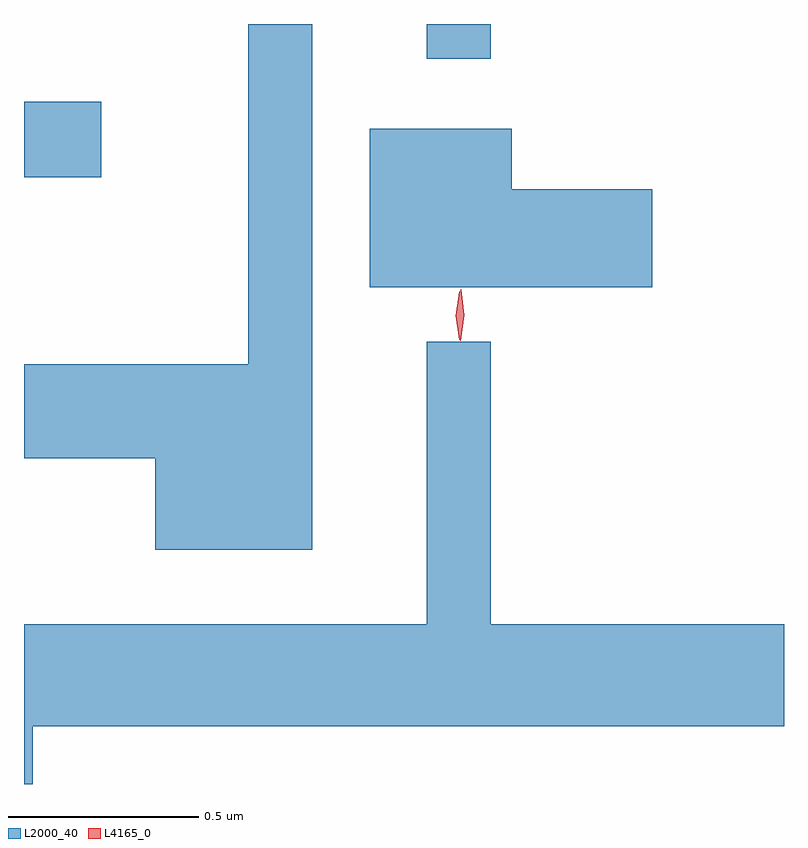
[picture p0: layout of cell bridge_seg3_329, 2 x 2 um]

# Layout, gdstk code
import gdstk
lib = gdstk.Library(unit=1e-6, precision=1e-09)
def R(c, l, rs):  # rectangles x0, y0, x1, y1
    for r in rs: c.add(gdstk.rectangle(r[:2], r[2:], *l))
def P(c, l, *ps):  # polygons
    for p in ps: c.add(gdstk.Polygon(p, *l))
L2000_40 = (2000, 40)
L4165_0 = (4165, 0)

bridge_seg3_329 = lib.new_cell('bridge_seg3_329')
R(bridge_seg3_329, L2000_40, [(535.001,1165.201,535.204,1165.399), (536.061,1165.513,536.229,1165.604)])
P(bridge_seg3_329, L2000_40, [(535.759,1165.604),(535.591,1165.604),(535.591,1164.709),(535.001,1164.709),(535.001,1164.461),(535.346,1164.461),(535.346,1164.221),(535.759,1164.221)],
  [(536.654,1165.169),(536.284,1165.169),(536.284,1165.329),(535.911,1165.329),(535.911,1164.911),(536.654,1164.911)],
  [(535.024,1163.756),(537.001,1163.756),(537.001,1164.024),(536.229,1164.024),(536.229,1164.768),(536.061,1164.768),(536.061,1164.024),(535.001,1164.024),(535.001,1163.604),(535.024,1163.604)])
P(bridge_seg3_329, L4165_0, [(536.149,1164.77),(536.149,1164.77),(536.14,1164.838),(536.15,1164.906),(536.151,1164.906),(536.152,1164.906),(536.16,1164.838),(536.15,1164.77)],
  [(536.147,1164.773),(536.147,1164.773),(536.137,1164.836),(536.147,1164.899),(536.147,1164.9),(536.148,1164.899),(536.157,1164.836),(536.148,1164.773)])

lib.write_gds('bridge_seg3_329.gds')
